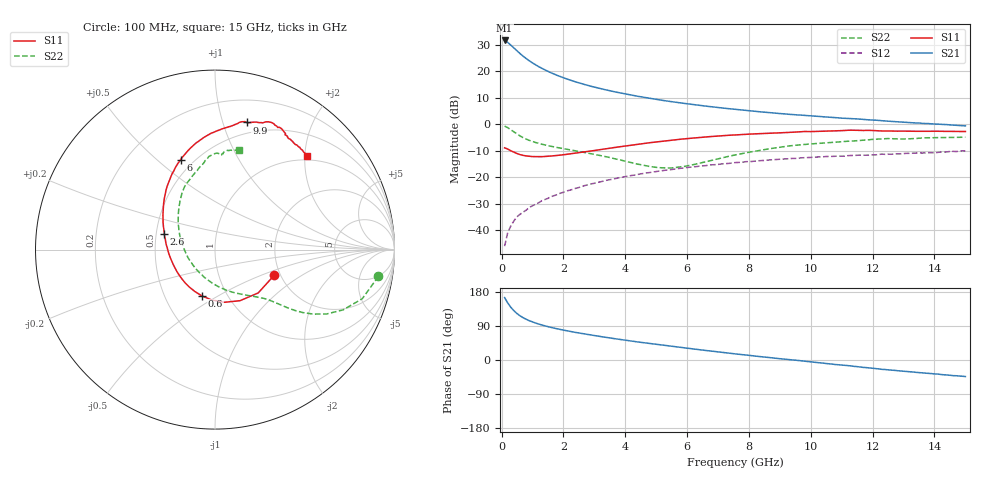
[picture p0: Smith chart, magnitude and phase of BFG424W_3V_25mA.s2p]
! Filename BFG424W_3V_25mA.prm
! Simulation_Values
!	! Created	by	janssen	on	Thu	Sep	15	10:02:03	WETDST	2005
!	Column ranking S11, S21,S12,S22 both magnitude and phase.
!	VCE	=	3	V,	IC	=	25	mA
!	Common	Emitter	S-Parameters
#	GHz	S	MA	R	50
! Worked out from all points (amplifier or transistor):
!   150 points, 100 MHz to 15 GHz, reference 50 ohm
!   highest |S21| = 31.7 dB at 100 MHz (marker M1)
!   |S21| within 3 dB of that: start of sweep to 415.5 MHz
!   unconditionally stable (mu >= 1): 1.099 GHz to 11.11 GHz; 11.6 GHz to end of sweep
!   at 2.6 GHz: K = 1.18, MAG = 16.8 dB, |S12| = -23.5 dB
!   at 7.6 GHz: K = 1.12, MAG = 7.9 dB, |S12| = -14.4 dB
!   at 15 GHz: K = 1.09, MAG = 2.9 dB, |S12| = -10.1 dB
!   S11 on the Smith chart (normalised r, x): 100 MHz: 1.86, -0.61; 600 MHz: 0.76, -0.42; 2.6 GHz: 0.55, +0.11; 6 GHz: 0.43, +0.60; 9.9 GHz: 0.40, +1.20; 15 GHz: 0.92, +2.05
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0.1  0.36 -23.2  38.35 164.6  0.005 86.2  0.923 -9.3
0.2  0.341 -45.1  35.25 150.7  0.009 77.0  0.865 -18.4
0.3  0.317 -63.9  31.35 139.2  0.012 71.8  0.789 -25.2
0.4  0.298 -80.0  27.68 130.1  0.015 69.7  0.717 -30.0
0.5  0.281 -94.0  24.42 122.6  0.018 68.8  0.654 -33.3
0.6  0.268 -105.8  21.66 116.6  0.02 67.9  0.602 -35.6
0.7  0.259 -115.8  19.35 111.6  0.022 68.3  0.56 -37.3
0.8  0.253 -124.5  17.42 107.4  0.024 68.7  0.526 -38.5
0.9  0.249 -132.2  15.82 103.6  0.027 68.6  0.497 -39.4
1  0.246 -139.0  14.46 100.4  0.029 69.5  0.474 -40.2
1.2  0.245 -150.6  12.3 94.9  0.033 69.9  0.437 -41.7
1.5  0.249 -164.5  10.01 88.0  0.04 70.3  0.396 -44.1
1.8  0.259 -175.5  8.405 82.3  0.047 70.5  0.365 -46.9
2.6  0.296 162.6  5.836 69.9  0.067 69.0  0.3 -57.1
3.7  0.368 141.7  4.065 55.8  0.095 64.6  0.221 -78.9
5.1  0.472 121.5  2.899 40.3  0.131 56.9  0.152 -130.9
6  0.537 110.9  2.44 31.1  0.153 51.5  0.164 -173.7
7.6  0.634 94.5  1.906 15.7  0.19 41.1  0.267 140.1
9.9  0.73 76.0  1.459 -4.1  0.235 25.8  0.421 108.7
10.1  0.732 74.9  1.429 -5.7  0.24 24.4  0.43 106.8
12.6  0.746 57.2  1.137 -26.6  0.272 8.7  0.535 87.5
15  0.731 45.4  0.935 -43.6  0.314 -5.5  0.572 76.5
